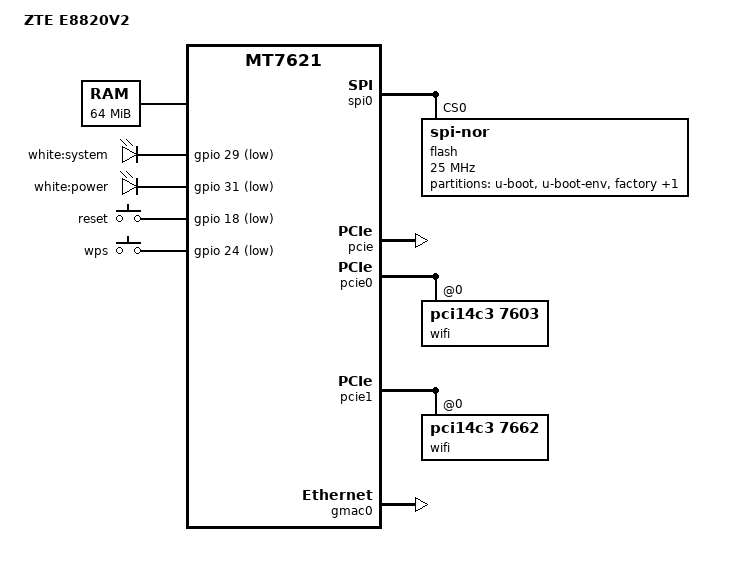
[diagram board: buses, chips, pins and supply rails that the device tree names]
// SPDX-License-Identifier: GPL-2.0-or-later OR MIT
#include "mt7621.dtsi"
#include <dt-bindings/gpio/gpio.h>
#include <dt-bindings/input/input.h>

/ {
	compatible = "zte,e8820v2", "mediatek,mt7621-soc";
	model = "ZTE E8820V2";

	aliases {
		led-boot = &led_sys;
		led-failsafe = &led_sys;
		led-running = &led_sys;
		led-upgrade = &led_sys;
		label-mac-device = &gmac0;
	};

	chosen {
		bootargs = "console=ttyS0,115200 rootfstype=squashfs,jffs2";
	};

	memory@0 {
		device_type = "memory";
		reg = <0x0 0x4000000>;
	};

	leds {
		compatible = "gpio-leds";

		led_sys: sys {
			label = "white:system";
			gpios = <&gpio 29 GPIO_ACTIVE_LOW>;
		};

		power {
			label = "white:power";
			gpios = <&gpio 31 GPIO_ACTIVE_LOW>;
		};
	};

	keys {
		compatible = "gpio-keys";

		reset {
			label = "reset";
			gpios = <&gpio 18 GPIO_ACTIVE_LOW>;
			linux,code = <KEY_RESTART>;
		};

		wps {
			label = "wps";
			gpios = <&gpio 24 GPIO_ACTIVE_LOW>;
			linux,code = <KEY_WPS_BUTTON>;
		};
	};
};

&spi0 {
	status = "okay";

	flash@0 {
		compatible = "jedec,spi-nor";
		reg = <0>;
		spi-max-frequency = <25000000>;
		broken-flash-reset;
		m25p,fast-read;

		partitions {
			compatible = "fixed-partitions";
			#address-cells = <1>;
			#size-cells = <1>;

			partition@0 {
				label = "u-boot";
				reg = <0x0 0x30000>;
				read-only;
			};

			partition@30000 {
				label = "u-boot-env";
				reg = <0x30000 0x10000>;
				read-only;
			};

			factory: partition@40000 {
				label = "factory";
				reg = <0x40000 0x10000>;
				read-only;
			};

			partition@50000 {
				compatible = "openwrt,uimage", "denx,uimage";
				label = "firmware";
				reg = <0x50000 0xfb0000>;
			};
		};
	};
};

&pcie {
	status = "okay";
};

&pcie0 {
	wifi@0,0 {
		compatible = "pci14c3,7603";
		reg = <0x0000 0 0 0 0>;
		mediatek,mtd-eeprom = <&factory 0x0>;
		ieee80211-freq-limit = <2400000 2500000>;
	};
};

&pcie1 {
	wifi@0,0 {
		compatible = "pci14c3,7662";
		reg = <0x0000 0 0 0 0>;
		mediatek,mtd-eeprom = <&factory 0x8000>;
		ieee80211-freq-limit = <5000000 6000000>;
	};
};

&gmac0 {
	status = "okay";
	mtd-mac-address = <&factory 0xe000>;
};

&switch0 {
	ports {
		port@0 { status = "okay"; label = "lan1"; };
		port@1 { status = "okay"; label = "lan2"; };
		port@2 { status = "okay"; label = "lan3"; };
		port@3 { status = "okay"; label = "lan4"; };
		port@4 { status = "okay"; label = "wan"; };
	};
};

&state_default {
	gpio {
		groups = "i2c", "uart2", "uart3";
		function = "gpio";
	};
};
